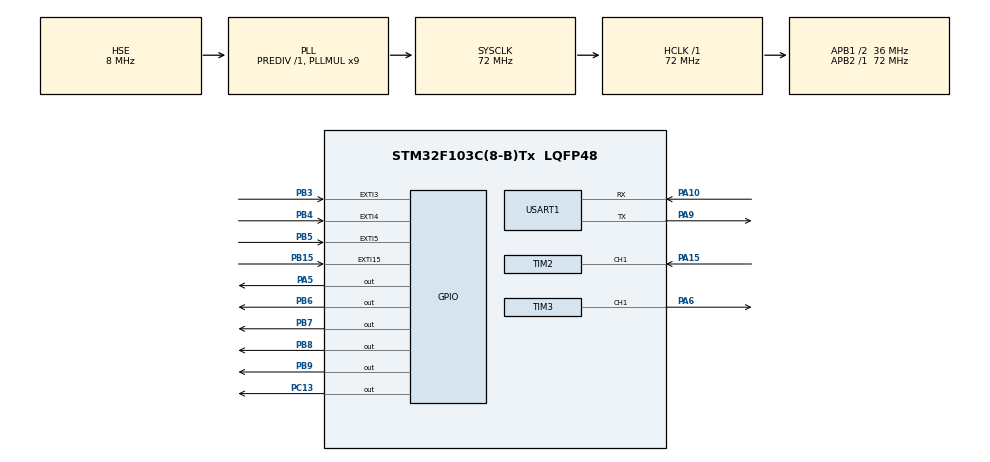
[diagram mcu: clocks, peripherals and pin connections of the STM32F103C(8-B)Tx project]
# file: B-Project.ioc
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Mcu.Family=STM32F1
Mcu.Name=STM32F103C(8-B)Tx
Mcu.Package=LQFP48
NVIC.EXTI15_10_IRQn=true\:2\:0\:true\:false\:true\:true\:true\:true
NVIC.EXTI3_IRQn=true\:2\:0\:true\:false\:true\:true\:true\:true
NVIC.EXTI4_IRQn=true\:2\:0\:true\:false\:true\:true\:true\:true
NVIC.EXTI9_5_IRQn=true\:2\:0\:true\:false\:true\:true\:true\:true
NVIC.PriorityGroup=NVIC_PRIORITYGROUP_4
NVIC.TIM1_UP_IRQn=true\:1\:0\:true\:false\:true\:true\:true\:true
NVIC.TIM2_IRQn=true\:1\:0\:true\:false\:true\:true\:true\:true
NVIC.TIM4_IRQn=true\:1\:0\:true\:false\:true\:true\:true\:true
PA0-WKUP.Mode=SYS_WakeUp0
PA0-WKUP.Signal=SYS_WKUP
PA10.Mode=Asynchronous
PA10.Signal=USART1_RX
PA13.Mode=Serial_Wire
PA13.Signal=SYS_JTMS-SWDIO
PA14.Mode=Serial_Wire
PA14.Signal=SYS_JTCK-SWCLK
PA15.GPIO_PuPd=GPIO_PULLUP
PA15.Signal=S_TIM2_CH1_ETR
PA5.Signal=GPIO_Output
PA6.GPIO_Speed=GPIO_SPEED_FREQ_HIGH
PA6.Signal=S_TIM3_CH1
PA9.Mode=Asynchronous
PA9.Signal=USART1_TX
PB15.GPIO_ModeDefaultEXTI=GPIO_MODE_IT_FALLING
PB15.GPIO_PuPd=GPIO_PULLUP
PB15.Signal=GPXTI15
PB3.GPIO_ModeDefaultEXTI=GPIO_MODE_IT_FALLING
PB3.GPIO_PuPd=GPIO_PULLUP
PB3.Signal=GPXTI3
PB4.GPIO_ModeDefaultEXTI=GPIO_MODE_IT_FALLING
PB4.GPIO_PuPd=GPIO_PULLUP
PB4.Signal=GPXTI4
PB5.GPIO_ModeDefaultEXTI=GPIO_MODE_IT_FALLING
PB5.GPIO_PuPd=GPIO_PULLUP
PB5.Signal=GPXTI5
PB6.Signal=GPIO_Output
PB7.Signal=GPIO_Output
PB8.Signal=GPIO_Output
PB9.Signal=GPIO_Output
PC13-TAMPER-RTC.Signal=GPIO_Output
PD0-OSC_IN.Mode=HSE-External-Oscillator
PD0-OSC_IN.Signal=RCC_OSC_IN
PD1-OSC_OUT.Mode=HSE-External-Oscillator
PD1-OSC_OUT.Signal=RCC_OSC_OUT
ProjectManager.HeapSize=0x200
ProjectManager.StackSize=0x400
ProjectManager.TargetToolchain=STM32CubeIDE
RCC.AHBFreq_Value=72000000
RCC.APB1CLKDivider=RCC_HCLK_DIV2
RCC.APB1Freq_Value=36000000
RCC.APB1TimFreq_Value=72000000
RCC.APB2Freq_Value=72000000
RCC.APB2TimFreq_Value=72000000
RCC.EnbaleCSS=true
RCC.HCLKFreq_Value=72000000
RCC.PLLMUL=RCC_PLL_MUL9
RCC.PLLSourceVirtual=RCC_PLLSOURCE_HSE
RCC.SYSCLKFreq_VALUE=72000000
RCC.SYSCLKSource=RCC_SYSCLKSOURCE_PLLCLK
RCC.USBFreq_Value=72000000
SH.S_TIM2_CH1_ETR.0=TIM2_CH1,Input_Capture1_from_TI1
SH.S_TIM3_CH1.0=TIM3_CH1,PWM Generation1 CH1
TIM1.AutoReloadPreload=TIM_AUTORELOAD_PRELOAD_ENABLE
TIM1.Period=49999
TIM1.Prescaler=7199
TIM2.Channel-Input_Capture1_from_TI1=TIM_CHANNEL_1
TIM2.ICFilter_CH1=4
TIM2.ICPolarity_CH1=TIM_INPUTCHANNELPOLARITY_FALLING
TIM2.Prescaler=71
TIM3.AutoReloadPreload=TIM_AUTORELOAD_PRELOAD_ENABLE
TIM3.Channel-PWM\ Generation1\ CH1=TIM_CHANNEL_1
TIM3.Period=1894
TIM3.Prescaler=0
TIM3.Pulse-PWM\ Generation1\ CH1=631
TIM4.AutoReloadPreload=TIM_AUTORELOAD_PRELOAD_ENABLE
TIM4.Period=2499
TIM4.Prescaler=7199
USART1.VirtualMode=VM_ASYNC
VP_TIM1_VS_ClockSourceINT.Mode=Internal
VP_TIM2_VS_ClockSourceINT.Mode=Internal
VP_TIM4_VS_ClockSourceINT.Mode=Internal
board=custom

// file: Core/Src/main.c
/* USER CODE BEGIN Header */
/* USER CODE END Header */
#include "main.h"

/* USER CODE BEGIN Includes */
#include <string.h>
#include <stdio.h>

#include "stm32f1xx_hal.h"
#include "stm32f1xx_hal_rcc.h"

#include <stdlib.h>  // for atoi

/* Reserve Flash space for channel storage (10 channels * 2KB each) */
__attribute__((section(".user_data"))) const uint8_t flash_channels[10 * 2048];
/* Reserve one Flash page (1KB) for occupied channel map */
__attribute__((section(".occupied"))) const uint8_t occupied_page[1024];

/* USER CODE END Includes */

/* USER CODE BEGIN PD */

/* IR signal processing thresholds */
#define BURST_GAP_US    70        /* Max duration to consider as part of a burst (carrier) */
#define MAX_SEGMENTS    256       /* Max number of burst/idle segments per signal */
#define MAX_DIFFS       3000      /* Reduced from 4096 to save RAM (8KB) */
#define TIMER_FREQ_HZ   1000000   /* TIM2 runs at 1 MHz → 1 µs per tick */
#define END_GAP_US      500000    /* 500 ms silence to force end of capture (fallback) */

/* Signal validation thresholds */
#define MIN_CARRIER_COUNT 5          /* Minimum pulses to calculate carrier frequency */
#define MIN_TOTAL_DURATION_US 50000  /* Minimum total signal duration (50 ms) */
#define MAX_TOTAL_DURATION_US 200000 /* Maximum total signal duration (200 ms) */
#define MIN_BURST_DURATION_US 100    /* Minimum burst length to reject noise */
#define MIN_IDLE_DURATION_US  50     /* Minimum idle length to reject short gaps */
#define CARRIER_FREQ_MIN_HZ   30000  /* Min carrier frequency (30 kHz) */
#define CARRIER_FREQ_MAX_HZ   50000  /* Max carrier frequency (50 kHz) */
#define MIN_DIFFS_FOR_PROCESS 10     /* Ignore signals with fewer diffs (noise) */

/* Flash memory layout */
#define FLASH_END_ADDRESS           0x08010000  /* End of 64KB Flash (base + 64KB) */
#define MY_FLASH_PAGE_SIZE          1024U       /* Page size (renamed to avoid conflict(redefining FLASH_PAGE_SIZE error)) */
#define FLASH_OCCUPIED_START ((uint32_t)occupied_page)
#define FLASH_CHANNELS_START ((uint32_t)flash_channels)
#define CHANNEL_SIZE_IN_FLASH       (MY_FLASH_PAGE_SIZE * PAGES_PER_CHANNEL) // حالا با MY_ استفاده می‌شه

/* IR channel configuration */
#define MAX_CHANNELS    10
#define PAGES_PER_CHANNEL    2   /* 2 pages = 2KB per channel */

#define IDLE_THRESHOLD 6  /* 6 * 5s = 30s idle timeout */

/* USER CODE END PD */

TIM_HandleTypeDef htim1;
TIM_HandleTypeDef htim2;
TIM_HandleTypeDef htim3;
TIM_HandleTypeDef htim4;

UART_HandleTypeDef huart1;

/* USER CODE BEGIN PV */

/* EXTI flag for keypad interrupt */
volatile uint8_t exti_flag = 0;

/* Raw diff buffer (timing between edges) */
volatile uint32_t diffBuffer[MAX_DIFFS];
volatile uint32_t diffIndex = 0;

/* Capture state flags */
volatile uint8_t captureActive = 1;       /* Set to 0 to stop capture */
volatile uint8_t signalDetected = 0;      /* First valid edge detected */

/* Structure to hold processed IR signal data */
typedef struct {
    uint32_t carrierFreq;
    uint16_t segmentCount;
    uint8_t  type[MAX_SEGMENTS];      /* 0 = Idle, 1 = Burst */
    uint32_t duration[MAX_SEGMENTS];  /* microseconds */
} IR_RawData;

/* Current captured signal (volatile because used in ISR) */
volatile IR_RawData irData;

volatile uint32_t lastCapture = 0;
volatile uint8_t signalReady = 0;     /* Set when capture finished or overflow */
volatile uint8_t overflowError = 0;   /* Diff buffer overflow flag */

//phase 3
/* Temporary buffer for Flash read/write (one channel) */
IR_RawData tempChannelData;

/* State machine states */
typedef enum {
    IR_IDLE,         /* Waiting for signal or user input */
    IR_RECEIVING,    /* Capture in progress */
    IR_READY,        /* Signal ready, waiting for save/cancel */
    IR_TRANSMITTING, /* Replaying stored signal */
	IR_SELECTING     /* User selected channel, waiting for C (send) or D (delete) */
} IR_State;

volatile IR_State currentState = IR_IDLE;

/* Channel occupancy map (0 = free, 1 = occupied) */
uint8_t channelOccupied[MAX_CHANNELS] = {0};

/* Keyboard input buffer (max 2 digits + null terminator) */
uint8_t selectedChannel = 0;
uint8_t keyboardBuffer[3] = {0};
uint8_t keyboardIndex = 0;

/* User timeout duration (not used dynamically yet, kept for future) */
//uint32_t timeoutDuration = 0;

/* Button flags for polling in main loop (not used in current implementation) */
//uint8_t savePressed = 0, cancelPressed = 0, sendPressed = 0, deletePressed = 0;

/* Word-aligned buffer for Flash programming (BSS) */
static uint32_t saveBuf[(sizeof(IR_RawData) + 3) / 4];

//phase 4
/* Idle timeout handling for standby mode */
volatile uint32_t lastActivityTime = 0;
const uint32_t IDLE_TIMEOUT_MS = 30000;

/* USER CODE END PV */

void SystemClock_Config(void);
static void MX_GPIO_Init(void);
static void MX_TIM2_Init(void);
static void MX_USART1_UART_Init(void);
static void MX_TIM4_Init(void);
static void MX_TIM3_Init(void);
static void MX_TIM1_Init(void);
/* USER CODE BEGIN PFP */

//phase 3
/* Channel management */
static uint8_t FindNextFreeChannel(void);
static void SaveChannel(uint8_t ch);
static void DeleteChannel(uint8_t ch);

/* Flash operations */
HAL_StatusTypeDef SaveToFlash(uint8_t channelIndex, IR_RawData* data);
void LoadFromFlash(uint8_t channelIndex, IR_RawData* destination);
static void LoadOccupiedFromFlash(void);  /* Load channel occupancy from Flash at startup */
static HAL_StatusTypeDef SaveOccupiedToFlash(void);

/* User interface */
static uint8_t ScanKeyboard(void);  /* Scan 4x4 keypad, return ASCII key or 0 */
static void ProcessKeyboardInput(uint8_t key);
static void LED_Pattern(uint8_t type);  /* type: 1=save, 2=cancel, 3=send, 4=delete, 5=error */

/* Debug helpers */
static void DumpOccupiedFlashRaw(void);

/* User timeout management (TIM1) */
static inline void StartUserTimeout(void);
static inline void StopUserTimeout(void);

/* USER CODE END PFP */

/* USER CODE BEGIN 0 */

/**
 * @brief Initializes and starts IR capture mode.
 *        Resets buffers, flags, and starts TIM2 input capture interrupt.
 */
void IR_CaptureStart(void)
{
    memset((void*)diffBuffer, 0, sizeof(diffBuffer));
    diffIndex = 0;
    signalReady = 0;
    overflowError = 0;
    lastCapture = 0;
    captureActive = 1;
    signalDetected = 0;

    HAL_TIM_IC_Start_IT(&htim2, TIM_CHANNEL_1);
    currentState = IR_IDLE;
	printf("Entered receiving state.\r\n");

}

/**
 * @brief TIM2 input capture interrupt callback.
 *        Measures time between falling edges, stores diffs in buffer,
 *        and starts TIM4 timeout on first valid edge.
 */
void HAL_TIM_IC_CaptureCallback(TIM_HandleTypeDef *htim)
{
    if (htim->Instance != TIM2 || !captureActive) return;

    uint32_t now = HAL_TIM_ReadCapturedValue(htim, TIM_CHANNEL_1);
    uint32_t diff = (now >= lastCapture) ? (now - lastCapture) : (0xFFFF - lastCapture + now + 1);

    /* Skip first capture (no valid diff) */
    if (lastCapture == 0) {
            lastCapture = now;
            return;
    }

    if (diffIndex < MAX_DIFFS) {
        diffBuffer[diffIndex++] = diff;
    } else {
    	/* Buffer overflow: stop capture and signal ready for processing */
        overflowError = 1;
        captureActive = 0;
        HAL_TIM_IC_Stop_IT(&htim2, TIM_CHANNEL_1);
        HAL_TIM_Base_Stop_IT(&htim4);
        signalReady = 1;
    }

    lastCapture = now;

    /* Start TIM4 timeout only on the first valid edge */
    if (!signalDetected) {
        signalDetected = 1;
        __HAL_TIM_SET_COUNTER(&htim4, 0);
        HAL_TIM_Base_Start_IT(&htim4);
        currentState = IR_RECEIVING;

    }
}

/**
 * @brief TIM period elapsed callback (used by TIM4 and TIM1).
 *        TIM4: end-of-frame detection, stops capture.
 *        TIM1: user decision timeout (5s), discards signal or selection.
 */
__attribute__((used)) void HAL_TIM_PeriodElapsedCallback(TIM_HandleTypeDef *htim) {
    if (htim->Instance == TIM4) {
    	/* End of capture timeout (no signal edge for 250ms) */
        if (captureActive) {
            captureActive = 0;
            HAL_TIM_IC_Stop_IT(&htim2, TIM_CHANNEL_1);
            HAL_TIM_Base_Stop_IT(&htim4);
            signalReady = 1;  /* Signal ready for processing */
        }
        return;
    }

    if (htim->Instance == TIM1) {

    	/* 5-second user timeout window (ready or channel selection) */
    	StopUserTimeout();

        if (currentState == IR_READY) {
        	lastActivityTime = HAL_GetTick();
        	printf("Timeout in ready state: Signal discarded.\r\n");
            //LED_Pattern(2);
            HAL_GPIO_WritePin(GPIOC, GPIO_PIN_13, GPIO_PIN_SET); /* Turn LED off */
            currentState = IR_IDLE;
            selectedChannel = 0;
            keyboardIndex = 0;
            memset(keyboardBuffer, 0, sizeof(keyboardBuffer));
            //printf("Timeout in ready state: Signal discarded.\r\n");
            IR_CaptureStart(); /* Restart capture */
        }
        else if (currentState == IR_SELECTING && selectedChannel > 0) {
        	lastActivityTime = HAL_GetTick();
            printf("Timeout in channel selection: Channel %d discarded.\r\n", selectedChannel);
            selectedChannel = 0;
            HAL_GPIO_WritePin(GPIOC, GPIO_PIN_13, GPIO_PIN_SET); /* Turn LED off */
            currentState = IR_IDLE;
            IR_CaptureStart();
        }

        return;
    }
}

/**
 * @brief Retarget printf to UART1.
 * @param file unused
 * @param ptr data buffer
 * @param len length
 * @return number of bytes written
 */
int _write(int file, char *ptr, int len)
{
    HAL_UART_Transmit(&huart1, (uint8_t*)ptr, len, HAL_MAX_DELAY);
    return len;
}

/**
 * @brief Show visual feedback on LED (PC13, active low).
 * @param type 1=Save, 2=Cancel, 3=Send, 4=Delete, 5=Error
 */
void LED_Pattern(uint8_t type) {
    switch (type) {
        case 1:  /* Save: 3 quick blinks */
            for (int i = 0; i < 3; i++) {
                HAL_GPIO_WritePin(GPIOC, GPIO_PIN_13, GPIO_PIN_RESET);
                HAL_Delay(150);
                HAL_GPIO_WritePin(GPIOC, GPIO_PIN_13, GPIO_PIN_SET);
                HAL_Delay(150);
            }
            break;
        case 2:  /* Save: 3 quick blinks */
            HAL_GPIO_WritePin(GPIOC, GPIO_PIN_13, GPIO_PIN_RESET);
            HAL_Delay(500);
            HAL_GPIO_WritePin(GPIOC, GPIO_PIN_13, GPIO_PIN_SET);
            HAL_Delay(200);
            break;
        case 3:  /* Send: 2 medium blinks */
            for (int i = 0; i < 2; i++) {
                HAL_GPIO_WritePin(GPIOC, GPIO_PIN_13, GPIO_PIN_RESET);
                HAL_Delay(300);
                HAL_GPIO_WritePin(GPIOC, GPIO_PIN_13, GPIO_PIN_SET);
                HAL_Delay(300);
            }
            break;
        case 4:  /* Delete: 4 fast blinks */
            for (int i = 0; i < 4; i++) {
                HAL_GPIO_WritePin(GPIOC, GPIO_PIN_13, GPIO_PIN_RESET);
                HAL_Delay(100);
                HAL_GPIO_WritePin(GPIOC, GPIO_PIN_13, GPIO_PIN_SET);
                HAL_Delay(100);
            }
            break;
        case 5:  /* Error: 5 very fast blinks */
			for (int i = 0; i < 5; i++) {
				HAL_GPIO_WritePin(GPIOC, GPIO_PIN_13, GPIO_PIN_RESET);
				HAL_Delay(50);
				HAL_GPIO_WritePin(GPIOC, GPIO_PIN_13, GPIO_PIN_SET);
				HAL_Delay(50);
			}
			break;
        default:
            break;
    }
}

/**
 * @brief Dynamically set TIM3 PWM frequency for IR carrier.
 * @param carrierHz Desired carrier frequency (30-56 kHz). Out-of-range defaults to 38 kHz.
 */
void TIM3_SetCarrierFreq(uint32_t carrierHz)
{
    if (carrierHz < 30000 || carrierHz > 50000) {
        carrierHz = 38000; /* Default to 38 kHz */
    }

    /* Calculate timer clock (APB1) */
    uint32_t pclk1 = HAL_RCC_GetPCLK1Freq();
    uint32_t hclk = HAL_RCC_GetHCLKFreq();  // HCLK usually = SYSCLK
    uint32_t tim_clk = (pclk1 == hclk) ? pclk1 : 2 * pclk1;  /* If APB1 prescaler >1, timer clock = 2*PCLK1 */

    /* Adjust prescaler to avoid 16-bit overflow */
    uint32_t prescaler = 0;
    uint32_t period = tim_clk / carrierHz;
    while (period > 65535) {
        prescaler++;
        period = (tim_clk / (prescaler + 1)) / carrierHz;
    }
    if (period == 0) period = 1;  // prevents division by zero
    period -= 1; /* Final ARR value */

    /* Apply settings without reinitializing the timer */
    __HAL_TIM_SET_PRESCALER(&htim3, prescaler);
    __HAL_TIM_SET_AUTORELOAD(&htim3, period);

    /* Duty cycle ≈ 33% (can be changed to 50% by using period/2) */
    __HAL_TIM_SET_COMPARE(&htim3, TIM_CHANNEL_1, period / 2);
}

/**
 * @brief Enable PWM output on TIM3 channel 1.
 */
static inline void PWM_On(void) {
    HAL_TIM_PWM_Start(&htim3, TIM_CHANNEL_1);
}

/**
 * @brief Disable PWM output on TIM3 channel 1.
 */
static inline void PWM_Off(void) {
    HAL_TIM_PWM_Stop(&htim3, TIM_CHANNEL_1);
}

/**
 * @brief Microsecond delay using DWT cycle counter.
 * @param us Delay in microseconds
 */
static void delay_us(uint32_t us)
{
    uint32_t start = DWT->CYCCNT;
    uint32_t cycles = (HAL_RCC_GetHCLKFreq() / 1000000) * us;
    while ((DWT->CYCCNT - start) < cycles);
}

/**
 * @brief Replay a stored IR signal.
 * @param data Pointer to IR_RawData structure (carrier freq, segments, durations)
 */
void IR_Transmit(volatile IR_RawData *data)
{
    if (data->segmentCount == 0) {
        printf("Error: No segments to transmit.\r\n");
        return;
    }
    currentState = IR_TRANSMITTING;
	printf("Transmitting channel %d...\r\n", selectedChannel);
	LED_Pattern(3);   /* Send pattern */

    TIM3_SetCarrierFreq(data->carrierFreq); /* Dynamic frequency setting based on captured carrier */

    for (uint16_t i = 0; i < data->segmentCount; i++) {
        if (data->type[i] == 1) {
            PWM_On();
        } else {
            PWM_Off();
        }
        delay_us(data->duration[i]);
    }
    PWM_Off(); /* Final off */
	printf("Transmit complete.\r\n");
	currentState = IR_IDLE;
	selectedChannel = 0;
	IR_CaptureStart();  /* Back to idle, ready for next capture */
}

/**
 * @brief Process raw diff buffer and extract IR signal segments.
 * @return 1 if valid signal, 0 if discarded (noise or invalid)
 */
uint8_t ProcessDiffBuffer(void) {
	/* Too few diffs – likely noise */
	if (diffIndex < MIN_DIFFS_FOR_PROCESS) return 0;

	/* Step 1: Calculate total signal duration */
    uint32_t totalDuration = 0;
    for (uint32_t i = 0; i < diffIndex; i++) {
        totalDuration += diffBuffer[i];
    }

    /* Basic sanity checks */
    if (totalDuration < MIN_TOTAL_DURATION_US || totalDuration > MAX_TOTAL_DURATION_US || diffIndex < 10) {
        printf("Discard: Invalid total duration (%lu us) or too few diffs (%lu)\r\n", totalDuration, diffIndex);
        return 0;
    }

    /* Step 2: Calculate carrier frequency from short diffs (burst pulses) */
    uint32_t carrierSum = 0;
    uint32_t carrierCount = 0;
    for (uint32_t i = 0; i < diffIndex; i++) {
        if (diffBuffer[i] > 5 && diffBuffer[i] <= BURST_GAP_US) {  // carrier diffs (5-200us)
            carrierSum += diffBuffer[i];
            carrierCount++;
        }
    }
    uint32_t carrierFreq = 0;
    if (carrierCount >= MIN_CARRIER_COUNT) {
        uint32_t avgPeriod = carrierSum / carrierCount;
        carrierFreq = TIMER_FREQ_HZ / avgPeriod;
    } else {
        printf("Discard: Not enough carrier pulses (%lu < %d)\r\n", carrierCount, MIN_CARRIER_COUNT);
        return 0;
    }

    /* Step 3: Extract burst/idle segments from diff array */
    memset((void*)&irData, 0, sizeof(irData));
    uint8_t currentType = 1;  /* Assume starting with burst */
    uint32_t accumulatedDuration = diffBuffer[0];
    irData.segmentCount = 0;

    for (uint32_t i = 1; i < diffIndex; i++) {
        uint32_t diff = diffBuffer[i];
        if (diff <= BURST_GAP_US) {
            if (currentType == 1) {
                accumulatedDuration += diff;  /* Continue current burst */
            } else {
            	/* End of idle, start new burst */
                if (irData.segmentCount < MAX_SEGMENTS) {
                    irData.type[irData.segmentCount] = 0;  /* Idle segment */
                    irData.duration[irData.segmentCount++] = accumulatedDuration;
                }
                currentType = 1;
                accumulatedDuration = diff;
            }
        } else {
        	/* This diff is part of an idle gap */
            if (currentType == 0) {
                accumulatedDuration += diff;  /* Continue current idle */
            } else {
            	/* End of burst, start new idle */
                if (irData.segmentCount < MAX_SEGMENTS) {
                    irData.type[irData.segmentCount] = 1;  /* Burst segment */
                    irData.duration[irData.segmentCount++] = accumulatedDuration;
                }
                currentType = 0;
                accumulatedDuration = diff;
            }
        }
    }
    /* Add the final segment */
    if (accumulatedDuration > 0 && irData.segmentCount < MAX_SEGMENTS) {
        irData.type[irData.segmentCount] = currentType;
        irData.duration[irData.segmentCount++] = accumulatedDuration;
    }

    /* Check for segment overflow */
    if (irData.segmentCount >= MAX_SEGMENTS) {
        printf("Discard: Segment overflow (%d >= %d)\r\n", irData.segmentCount, MAX_SEGMENTS);
        return 0;
    }

    /* Step 4: Final validation checks */
    if (overflowError) {
        printf("Discard: Diff buffer overflow\r\n");
        return 0;
    }
    if (carrierFreq < CARRIER_FREQ_MIN_HZ || carrierFreq > CARRIER_FREQ_MAX_HZ) {
        printf("Discard: Invalid carrier freq (%lu Hz)\r\n", carrierFreq);
        return 0;
    }
    for (uint16_t i = 0; i < irData.segmentCount; i++) {
        if (irData.type[i] == 1 && irData.duration[i] < MIN_BURST_DURATION_US) {
            printf("Discard: Short burst (%lu us < %d)\r\n", irData.duration[i], MIN_BURST_DURATION_US);
            return 0;
        }
        if (irData.type[i] == 0 && irData.duration[i] < MIN_IDLE_DURATION_US) {
            printf("Discard: Short idle (%lu us < %d)\r\n", irData.duration[i], MIN_IDLE_DURATION_US);
            return 0;
        }
    }

    /* All checks passed */
    irData.carrierFreq = carrierFreq;
    return 1;
}

/**
 * @brief Save channel occupancy map to Flash (page at FLASH_OCCUPIED_START).
 * @return HAL_OK on success, otherwise error code.
 */
static HAL_StatusTypeDef SaveOccupiedToFlash(void) {
    HAL_StatusTypeDef status = HAL_OK;
    FLASH_EraseInitTypeDef EraseInitStruct;
    uint32_t PageError = 0;

    const uint16_t words = (sizeof(channelOccupied) + 3) / 4;
    uint32_t occBuf[(sizeof(channelOccupied) + 3) / 4];

    /* Prepare buffer: pad with 0xFF then copy actual bytes */
    for (uint16_t i = 0; i < words; ++i) occBuf[i] = 0xFFFFFFFFu;
    memcpy(occBuf, channelOccupied, sizeof(channelOccupied));

    /* Disable capture IRQs during Flash write (safer than full __disable_irq) */
    HAL_NVIC_DisableIRQ(TIM2_IRQn);
    HAL_NVIC_DisableIRQ(TIM4_IRQn);

    HAL_FLASH_Unlock();

    EraseInitStruct.TypeErase = FLASH_TYPEERASE_PAGES;
    EraseInitStruct.PageAddress = FLASH_OCCUPIED_START;
    EraseInitStruct.NbPages = 1;

    status = HAL_FLASHEx_Erase(&EraseInitStruct, &PageError);
    if (status != HAL_OK) {
        uint32_t ferr = HAL_FLASH_GetError();
        printf("SaveOccupiedToFlash: Erase failed. status=%ld, FLASH error=0x%08lX, PageError=0x%08lX\r\n",
               (long)status, (unsigned long)ferr, (unsigned long)PageError);
        HAL_FLASH_Lock();
        HAL_NVIC_EnableIRQ(TIM4_IRQn);
        HAL_NVIC_EnableIRQ(TIM2_IRQn);
        return status;
    }

    uint32_t addr = FLASH_OCCUPIED_START;
    for (uint16_t i = 0; i < words; i++) {
        status = HAL_FLASH_Program(FLASH_TYPEPROGRAM_WORD, addr, occBuf[i]);
        if (status != HAL_OK) {
            uint32_t ferr = HAL_FLASH_GetError();
            printf("SaveOccupiedToFlash: Program failed at 0x%08lX. FLASH error=0x%08lX\r\n", (unsigned long)addr, (unsigned long)ferr);
            HAL_FLASH_Lock();
            HAL_NVIC_EnableIRQ(TIM4_IRQn);
            HAL_NVIC_EnableIRQ(TIM2_IRQn);
            return status;
        }
        addr += 4;
    }

    HAL_FLASH_Lock();

    HAL_NVIC_EnableIRQ(TIM4_IRQn);
    HAL_NVIC_EnableIRQ(TIM2_IRQn);

    return HAL_OK;
}

/**
 * @brief Load channel occupancy map from Flash into RAM.
 *        Handles empty (0xFF) or corrupted pages by resetting map to all free.
 */
static void LoadOccupiedFromFlash(void) {
    uint8_t temp[sizeof(channelOccupied)];
    memcpy(temp, (void*)FLASH_OCCUPIED_START, sizeof(temp));

    /* Debug: print raw bytes */
    printf("Raw occupied flash bytes: ");
    for (int i = 0; i < (int)sizeof(temp); i++) {
        printf("%02X ", temp[i]);
    }
    printf("\r\n");

    /* Check if page is completely erased (0xFF) – new / empty */
    uint8_t all_ff = 1;
    for (int i = 0; i < (int)sizeof(temp); i++) {
        if (temp[i] != 0xFF) { all_ff = 0; break; }
    }
    if (all_ff) {
        memset(channelOccupied, 0, sizeof(channelOccupied));
        printf("Occupied status empty (0xFF). Defaults set (all free).\r\n");
        return;
    }

    /* Validate each byte: only 0x00, 0x01 or 0xFF are allowed */
    uint8_t valid = 1;
    for (int i = 0; i < (int)sizeof(temp); i++) {
        if (!(temp[i] == 0x00 || temp[i] == 0x01 || temp[i] == 0xFF)) { valid = 0; break; }
    }

    if (valid) {
        for (int i = 0; i < MAX_CHANNELS; i++) {
            channelOccupied[i] = (temp[i] == 0x01) ? 1 : 0;
        }
        printf("Occupied status loaded from flash (validated).\r\n");
        /* Attempt to erase the page manually (SaveOccupiedToFlash would write current RAM, which is not intended here) */
    } else {
        printf("Occupied page invalid/corrupt. Erasing occupied page and resetting RAM map.\r\n");
        if (SaveOccupiedToFlash() == HAL_OK) {

        	/* SaveOccupiedToFlash erases and writes current channelOccupied (already zeroed later), but we just want erase.
        	So we do a manual erase instead: */
            FLASH_EraseInitTypeDef EraseInitStruct;
            uint32_t PageError = 0;
            HAL_FLASH_Unlock();
            EraseInitStruct.TypeErase = FLASH_TYPEERASE_PAGES;
            EraseInitStruct.PageAddress = FLASH_OCCUPIED_START;
            EraseInitStruct.NbPages = 1;
            HAL_FLASHEx_Erase(&EraseInitStruct, &PageError);
            HAL_FLASH_Lock();
        } else {
        	/* Erase failed, but still reset RAM */
        }
        memset(channelOccupied, 0, sizeof(channelOccupied));
        printf("Occupied status reset in RAM.\r\n");
    }

    printf("Occupied map: ");
    for (int i = 0; i < MAX_CHANNELS; i++) {
        printf("%d", channelOccupied[i] ? 1 : 0);
        if (i < MAX_CHANNELS-1) printf(",");
    }
    printf("\r\n");
}

/**
 * @brief Wrapper to safely save a captured signal to Flash.
 *        Disables capture IRQs, writes to Flash, updates occupancy map.
 * @param ch Channel number (1‑based)
 */
static void SaveChannel(uint8_t ch) {
    if (ch < 1 || ch > MAX_CHANNELS) return;
    ch--; /* Convert to 0-based index */

    /* Validate captured data */
    if (irData.segmentCount == 0 || irData.segmentCount > MAX_SEGMENTS) {
        printf("Error: invalid capture; not saved.\r\n");
        LED_Pattern(5);
        return;
    }

    /* Stop capture interrupts to avoid interference during Flash write */
    HAL_TIM_IC_Stop_IT(&htim2, TIM_CHANNEL_1);
    HAL_TIM_Base_Stop_IT(&htim4);
    // optionally stop main polling briefly
    __disable_irq();   /* Also disable all interrupts for safety */

    HAL_StatusTypeDef st = SaveToFlash(ch, (IR_RawData*)&irData);

    __enable_irq();
    // Restore capture (IR_CaptureStart will also set state)
    if (st == HAL_OK) {
        channelOccupied[ch] = 1;
        if (SaveOccupiedToFlash() != HAL_OK) {
            printf("Warning: failed to persist occupied map.\r\n");
        }
        printf("Channel %d saved.\r\n", ch + 1);
        LED_Pattern(1);
    } else {
        printf("Error saving channel %d. Flash error: %lu\r\n", ch + 1, HAL_FLASH_GetError());
        LED_Pattern(5);
    }

    IR_CaptureStart();  /* Restart capture */
}

/**
 * @brief Low-level Flash write for one channel.
 *        Erases the channel's Flash pages, then programs word by word.
 * @param channelIndex 0-based channel index
 * @param data Pointer to IR_RawData to store
 * @return HAL_OK on success, otherwise error code.
 */
HAL_StatusTypeDef SaveToFlash(uint8_t channelIndex, IR_RawData* data)
{
    if (channelIndex >= MAX_CHANNELS) return HAL_ERROR;

    uint32_t dataSize = sizeof(IR_RawData);
    if (dataSize > CHANNEL_SIZE_IN_FLASH) {
        printf("Error: Data size (%lu) exceeds channel size (%d)\r\n", dataSize, CHANNEL_SIZE_IN_FLASH);
        return HAL_ERROR;
    }

    HAL_StatusTypeDef status = HAL_OK;
    FLASH_EraseInitTypeDef EraseInitStruct;
    uint32_t PageError = 0;

    uint32_t targetAddress = FLASH_CHANNELS_START + (channelIndex * CHANNEL_SIZE_IN_FLASH);

    /* Check for Flash overflow */
    if (targetAddress + CHANNEL_SIZE_IN_FLASH > FLASH_END_ADDRESS) {
        printf("Error: Flash overflow for channel %d (address 0x%08lX)\r\n", channelIndex + 1, (unsigned long)targetAddress);
        return HAL_ERROR;
    }

    /* Copy data to word‑aligned buffer and pad with 0xFF */
    uint16_t numWords = (dataSize + 3) / 4;
    for (uint16_t i = 0; i < numWords; ++i) saveBuf[i] = 0xFFFFFFFFu;
    memcpy(saveBuf, data, dataSize);

    /* Disable only capture‑related IRQs during Flash operation */
    HAL_NVIC_DisableIRQ(TIM2_IRQn);
    HAL_NVIC_DisableIRQ(TIM4_IRQn);

    HAL_FLASH_Unlock();

    /* Erase the allocated pages for this channel */
    EraseInitStruct.TypeErase = FLASH_TYPEERASE_PAGES;
    EraseInitStruct.PageAddress = targetAddress;
    EraseInitStruct.NbPages = PAGES_PER_CHANNEL;

    status = HAL_FLASHEx_Erase(&EraseInitStruct, &PageError);
    if (status != HAL_OK) {
        uint32_t ferr = HAL_FLASH_GetError();
        printf("Flash erase failed (ch %d). status=%ld, FLASH error=0x%08lX, PageError=0x%08lX\r\n",
               channelIndex + 1, (long)status, (unsigned long)ferr, (unsigned long)PageError);
        HAL_FLASH_Lock();
        HAL_NVIC_EnableIRQ(TIM4_IRQn);
        HAL_NVIC_EnableIRQ(TIM2_IRQn);
        return status;
    }

    /* Program word by word */
    uint32_t addr = targetAddress;
    for (uint16_t i = 0; i < numWords; i++) {
        status = HAL_FLASH_Program(FLASH_TYPEPROGRAM_WORD, addr, saveBuf[i]);
        if (status != HAL_OK) {
            uint32_t ferr = HAL_FLASH_GetError();
            printf("Flash program failed at 0x%08lX (ch %d). status=%ld, FLASH error=0x%08lX\r\n",
                   (unsigned long)addr, channelIndex + 1, (long)status, (unsigned long)ferr);
            HAL_FLASH_Lock();
            HAL_NVIC_EnableIRQ(TIM4_IRQn);
            HAL_NVIC_EnableIRQ(TIM2_IRQn);
            return status;
        }
        addr += 4;
    }

    HAL_FLASH_Lock();

    /* Re‑enable capture IRQs */
    HAL_NVIC_EnableIRQ(TIM4_IRQn);
    HAL_NVIC_EnableIRQ(TIM2_IRQn);

    return HAL_OK;
}

/**
 * @brief Delete a channel by writing an empty IR_RawData structure to Flash.
 * @param ch Channel number (1‑based)
 */
static void DeleteChannel(uint8_t ch) {
    if (ch < 1 || ch > MAX_CHANNELS) {
        printf("Error: Invalid channel %d.\r\n", ch);
        return;
    }
    ch--;  /* Convert to 0‑based */
    memset(&tempChannelData, 0, sizeof(IR_RawData));
    if (SaveToFlash(ch, &tempChannelData) == HAL_OK) {
        channelOccupied[ch] = 0;
        SaveOccupiedToFlash();  /* Persist occupancy map */
        printf("Channel %d deleted.\r\n", ch + 1);
        LED_Pattern(4);   /* Delete pattern */
    } else {
        printf("Error deleting channel %d. Flash error: %lu\r\n", ch + 1, HAL_FLASH_GetError());
        LED_Pattern(5);  /* Error pattern */
    }
}

/**
 * @brief Load one channel's IR data from Flash into a RAM buffer.
 * @param channelIndex 0‑based channel index
 * @param destination Pointer to destination IR_RawData buffer
 */
void LoadFromFlash(uint8_t channelIndex, IR_RawData* destination)
{
    if (channelIndex >= MAX_CHANNELS) return;

    uint32_t sourceAddress = FLASH_CHANNELS_START + (channelIndex * CHANNEL_SIZE_IN_FLASH);

    if (sourceAddress + sizeof(IR_RawData) > FLASH_END_ADDRESS) {
        printf("Error: Flash overflow on load for channel %d\r\n", channelIndex + 1);
        memset(destination, 0, sizeof(IR_RawData));
        return;
    }

    memcpy(destination, (void*)sourceAddress, sizeof(IR_RawData));
}

/**
 * @brief Find the first free (unoccupied) channel.
 * @return Channel number (1‑based) or 0 if all channels are occupied.
 */
static uint8_t FindNextFreeChannel(void) {
    for (uint8_t i = 0; i < MAX_CHANNELS; i++) {
        if (!channelOccupied[i]) return i + 1;
    }
    return 0;
}

/**
 * @brief Scan the 4x4 matrix keypad and return the pressed key.
 * @return ASCII character of the pressed key, or 0 if none.
 */
static uint8_t ScanKeyboard(void) {
    const uint8_t keys[4][4] = {
        {'1', '2', '3', 'A'},
        {'4', '5', '6', 'B'},
        {'7', '8', '9', 'C'},
        {'*', '0', '#', 'D'}
    };

//    // *** CHANGE: Using an array for non-contiguous row pins ***
//    const uint16_t row_pins[4] = {GPIO_PIN_0, GPIO_PIN_1, GPIO_PIN_3, GPIO_PIN_8};
//    const uint16_t col_pins[4] = {GPIO_PIN_4, GPIO_PIN_5, GPIO_PIN_6, GPIO_PIN_7};

    /* Row pins (all on GPIOB) */
    const uint16_t row_pins[4] = {GPIO_PIN_9, GPIO_PIN_8, GPIO_PIN_7, GPIO_PIN_6};

    /* Column ports and pins (PB3‑PB5 on GPIOB, PA15 on GPIOA) */
    GPIO_TypeDef* col_ports[4] = {GPIOB, GPIOB, GPIOB, GPIOB};
    const uint16_t col_pins[4] = {GPIO_PIN_5, GPIO_PIN_4, GPIO_PIN_3, GPIO_PIN_15};

    for (uint8_t row = 0; row < 4; row++) {
    	 /* Drive current row low */
        HAL_GPIO_WritePin(GPIOB, row_pins[row], GPIO_PIN_RESET);
        //for (volatile int d = 0; d < 100; d++);

        for (uint8_t col = 0; col < 4; col++) {
        	 /* Read column */
            if (HAL_GPIO_ReadPin(col_ports[col], col_pins[col]) == GPIO_PIN_RESET) {
            	/* Key pressed – debounce with 50 ms delay */
				//for (volatile int d = 0; d < 100; d++);  // ≈ ۱-۲µs بسته به clock
            	//for (volatile int d = 0; d < 100; d++);
            	HAL_Delay(50);

            	/* Confirm still pressed */
                if (HAL_GPIO_ReadPin(col_ports[col], col_pins[col]) == GPIO_PIN_RESET) {
                	/* Restore row to high before returning */
                    HAL_GPIO_WritePin(GPIOB, row_pins[row], GPIO_PIN_SET);
                    return keys[row][col];
                }
            }
        }
        /* Restore row to high before moving to next row */
        HAL_GPIO_WritePin(GPIOB, row_pins[row], GPIO_PIN_SET);
    }
    return 0;  /* No key pressed */
}

/**
 * @brief EXTI interrupt callback (triggered by keypad column pins).
 *        Simple debounce and flag setting – heavy processing is done in main loop.
 */
static uint32_t last_key_ms = 0;
void HAL_GPIO_EXTI_Callback(uint16_t GPIO_Pin)
{
	uint32_t now = HAL_GetTick();
	    if (now - last_key_ms < 40) {
	    	/* Debounce: ignore if less than 40 ms since last interrupt */
	        return;
	    }
	    last_key_ms = now;
	    /* Set flag for main loop to process */
        exti_flag = 1;
        /* Optional visual feedback (quick LED toggle) */
        HAL_GPIO_TogglePin(GPIOC, GPIO_PIN_13);

}

/**
 * @brief Process keypad input and manage state machine transitions.
 * @param key ASCII character of the pressed key
 */
static void ProcessKeyboardInput(uint8_t key) {

	/* Digit entry (max 2 digits) */
    if (key >= '0' && key <= '9' && keyboardIndex < 2) {
        keyboardBuffer[keyboardIndex++] = key;
        keyboardBuffer[keyboardIndex] = '\0';
        printf("Key pressed: %c\r\n", key);

    }
    /* '#' – confirm channel selection (only in IDLE) */
    else if (key == '#') {
    	printf(">> State changed to IR_SELECTING (%d)\r\n", currentState);
        if (currentState != IR_IDLE) return;
        selectedChannel = atoi((char*)keyboardBuffer);
        if (selectedChannel < 1 || selectedChannel > MAX_CHANNELS) {
            printf("Error: Invalid channel %d.\r\n", selectedChannel);
            selectedChannel = 0;
            LED_Pattern(5);  /* Error pattern */
        } else {
            printf("Channel %d selected. Press C (Send) or D (Delete) within 5s.\r\n", selectedChannel);
            HAL_GPIO_WritePin(GPIOC, GPIO_PIN_13, GPIO_PIN_RESET);  /* LED on */
            currentState = IR_SELECTING;
            printf(">> State changed to IR_SELECTING (%d)\r\n", currentState);
            StartUserTimeout();  /* Start 5s timeout */
        }
        keyboardIndex = 0;
        memset(keyboardBuffer, 0, sizeof(keyboardBuffer));
    }
    /* '*' – cancel current operation */
    else if (key == '*') {  // لغو
        keyboardIndex = 0;
        selectedChannel = 0;
        printf("Keyboard input canceled.\r\n");
        if (currentState == IR_READY) {
            LED_Pattern(2);  /* Cancel pattern */
            HAL_GPIO_WritePin(GPIOC, GPIO_PIN_13, GPIO_PIN_SET);  /* LED off */
            currentState = IR_IDLE;
            StopUserTimeout();
            IR_CaptureStart();
        }
    }
    /* A, B, C, D – action keys */
    else if (key == 'A' || key == 'B' || key == 'C' || key == 'D') {
    	printf("Key=%c, State=%d, selCh=%d\r\n", key, currentState, selectedChannel);

    	/* In READY state – save or cancel the captured signal */
    	if (currentState == IR_READY) {
            if (key == 'A') {  /* Save */
                uint8_t ch;
                if (keyboardIndex > 0) {
                    ch = atoi((char*)keyboardBuffer);
                    keyboardIndex = 0;
                    memset(keyboardBuffer, 0, sizeof(keyboardBuffer));
                    if (ch < 1 || ch > MAX_CHANNELS) {
                        printf("Error: Invalid channel %d for save.\r\n", ch);
                        LED_Pattern(5);  // Error pattern
                        return;
                    }
                } else {
                    ch = FindNextFreeChannel();  // از occupied برای پیدا کردن خالی
                }
                if (ch == 0) {  // همه پر، overwrite کانال 1
                    ch = 1;
                    printf("All %d channels full. Overwriting channel 1.\r\n", MAX_CHANNELS);
                } else {
                    printf("Saving to free channel %d.\r\n", ch);
                }

                if (channelOccupied[ch - 1] == 1) {
                    printf("Warning: Overwriting channel %d.\r\n", ch);
                }
                SaveChannel(ch);
                selectedChannel = 0;
                HAL_GPIO_WritePin(GPIOC, GPIO_PIN_13, GPIO_PIN_SET);  /* LED off */
                currentState = IR_IDLE;
                StopUserTimeout();
                IR_CaptureStart();
            } else if (key == 'B') {  /* Cancel */
                printf("Signal canceled.\r\n");
                LED_Pattern(2);  // Cancel pattern
                HAL_GPIO_WritePin(GPIOC, GPIO_PIN_13, GPIO_PIN_SET);  // LED off
                currentState = IR_IDLE;
                StopUserTimeout();
                keyboardIndex = 0;
                memset(keyboardBuffer, 0, sizeof(keyboardBuffer));
                IR_CaptureStart();
            }
        }
    	/* In SELECTING state – send or delete a previously selected channel */
    	else if (selectedChannel > 0 && currentState == IR_SELECTING) {
            printf("Key=%c, State=%d, selCh=%d\r\n", key, currentState, selectedChannel);

            if (key == 'C') {  /* Send */
                if (channelOccupied[selectedChannel - 1] == 0) {
                    printf("Error: Channel %d empty.\r\n", selectedChannel);
                    LED_Pattern(5);
                } else {

                    LoadFromFlash(selectedChannel - 1, &tempChannelData);
                    printf("\r\n--- Loaded Signal from Channel %d ---\r\n", selectedChannel);
                            printf("Carrier Frequency: %lu Hz\r\n", tempChannelData.carrierFreq);
                            printf("Segment Count: %d\r\n", tempChannelData.segmentCount);
                            for (int i = 0; i < tempChannelData.segmentCount; i++) {
                                const char* typeStr = (tempChannelData.type[i] == 1) ? "Burst" : "Idle ";
                                printf("Segment %02d: [%s] -> %lu us\r\n", i, typeStr, tempChannelData.duration[i]);
                            }
                            printf("--- End of Loaded Signal ---\r\n\r\n");
                    IR_Transmit(&tempChannelData);
                }
            } else if (key == 'D') {  /* Delete */
                if (channelOccupied[selectedChannel - 1] == 0) {
                    printf("Error: Channel %d already empty.\r\n", selectedChannel);
                    LED_Pattern(5);
                } else {
                    DeleteChannel(selectedChannel);
                }
            }

            /* After C or D, always return to IDLE */
            HAL_GPIO_WritePin(GPIOC, GPIO_PIN_13, GPIO_PIN_SET);
            StopUserTimeout();
            selectedChannel = 0;
            currentState = IR_IDLE;
            IR_CaptureStart();
        }

    }
}

/**
 * @brief Start the 5‑second user decision timeout (TIM1).
 *        Clears all flags and pending IRQs before starting.
 */
static inline void StartUserTimeout(void)
{
	/* Reset counter */
    __HAL_TIM_SET_COUNTER(&htim1, 0);

    /* Clear status register and all pending flags */
    htim1.Instance->SR = 0;
    __HAL_TIM_CLEAR_FLAG(&htim1, TIM_FLAG_UPDATE);
    __HAL_TIM_CLEAR_IT(&htim1, TIM_IT_UPDATE);

    /* Clear NVIC pending for this IRQ */
    HAL_NVIC_ClearPendingIRQ(TIM1_UP_IRQn);

    /* Start the timer (only if not already running) */
    if ((htim1.Instance->CR1 & TIM_CR1_CEN) == 0) {
        HAL_TIM_Base_Start_IT(&htim1);
    }

    /* Debug: print register status */
    printf("StartUserTimeout after start: CR1=0x%04lX, SR=0x%08lX, DIER=0x%08lX\n",
           (unsigned long)htim1.Instance->CR1,
           (unsigned long)htim1.Instance->SR,
           (unsigned long)htim1.Instance->DIER);
}

/**
 * @brief Stop the user decision timeout and clear all pending flags.
 */
static inline void StopUserTimeout(void)
{
    HAL_TIM_Base_Stop_IT(&htim1);
    /* Clear all flags and pending IRQs */
    htim1.Instance->SR = 0;
    __HAL_TIM_CLEAR_FLAG(&htim1, TIM_FLAG_UPDATE);
    __HAL_TIM_CLEAR_IT(&htim1, TIM_IT_UPDATE);
    HAL_NVIC_ClearPendingIRQ(TIM1_UP_IRQn);
}
static void DumpOccupiedFlashRaw(void) {
    uint8_t *p = (uint8_t*)FLASH_OCCUPIED_START;
    printf("Raw occupied flash bytes: ");
    for (int i = 0; i < (int)sizeof(channelOccupied); i++) {
        printf("%02X ", p[i]);
    }
    printf("\r\n");
}

/* USER CODE END 0 */

int main(void)
{

  /* MCU Configuration--------------------------------------------------------*/

  /* Reset of all peripherals, Initializes the Flash interface and the Systick. */
  HAL_Init();

  /* Configure the system clock */
  SystemClock_Config();

  /* Initialize all configured peripherals */
  MX_GPIO_Init();
  MX_TIM2_Init();
  MX_USART1_UART_Init();
  MX_TIM4_Init();
  MX_TIM3_Init();
  MX_TIM1_Init();
  /* USER CODE BEGIN 2 */

  /* Configure PA0 as input with pull-down for standby wake-up (WKUP) */
  GPIO_InitTypeDef GPIO_InitStruct = {0};
  GPIO_InitStruct.Pin = GPIO_PIN_0;  // PA0
  GPIO_InitStruct.Mode = GPIO_MODE_INPUT;
  GPIO_InitStruct.Pull = GPIO_PULLDOWN;  // pull-down
  HAL_GPIO_Init(GPIOA, &GPIO_InitStruct);

  /* Disable wakeup pin initially (used for standby mode) */
  HAL_PWR_DisableWakeUpPin(PWR_WAKEUP_PIN1);

  /* Check if the microcontroller is waking up from STANDBY mode */
  if (__HAL_PWR_GET_FLAG(PWR_FLAG_SB) != RESET) {
      /*
       * STANDBY mode is the deepest sleep mode. When the MCU wakes up,
       * it performs a power-on reset and restarts execution from main().
       * The PWR_FLAG_SB flag indicates that the reset was caused by
       * waking from STANDBY rather than a normal power-up or hardware reset.
       */

      /* Clear the STANDBY flag to avoid re‑detection on next reset */
      __HAL_PWR_CLEAR_FLAG(PWR_FLAG_SB);

      /* Also clear the wake‑up flag (set when a wake‑up event occurred) */
      __HAL_PWR_CLEAR_FLAG(PWR_FLAG_WU);

      /*
       * Disable the wake‑up pin (PA0) to prevent immediate re‑entry into
       * standby after we exit this boot sequence. The pin will be re‑enabled
       * later when the idle timeout triggers standby again.
       */
      HAL_PWR_DisableWakeUpPin(PWR_WAKEUP_PIN1);

      /* Optional debug message to confirm wake‑up source */
      printf("Woke up from STANDBY. Restarting init.\r\n");
  }
	/* Reset idle counter */
    lastActivityTime = HAL_GetTick();

    /* Enable DWT cycle counter for microsecond delays */
	CoreDebug->DEMCR |= CoreDebug_DEMCR_TRCENA_Msk;
	DWT->CYCCNT = 0;
	DWT->CTRL |= DWT_CTRL_CYCCNTENA_Msk;

	LoadOccupiedFromFlash();
	printf("Occupied map: ");
	for (int i=0;i<MAX_CHANNELS;i++){
		printf("%d", channelOccupied[i] ? 1 : 0);
		if (i < MAX_CHANNELS-1) printf(",");
	}
	printf("\r\n");
	DumpOccupiedFlashRaw();

	printf("IR Raw Receiver Started... Flash base: 0x%08lX (%d channels, %d pages each)\r\n",
		   (unsigned long)FLASH_CHANNELS_START, MAX_CHANNELS, PAGES_PER_CHANNEL);
	LED_Pattern(1);   /* Test LED */
	//  printf("IR Raw Receiver Started...\r\n");
	//  BlinkPattern_OK();
	IR_CaptureStart();

	 /* Set PA5 low (active state) – used as a wake-up indicator */
	HAL_GPIO_WritePin(GPIOA, GPIO_PIN_5, GPIO_PIN_RESET);

  /* USER CODE END 2 */

  /* Infinite loop */
  /* USER CODE BEGIN WHILE */
  while (1)
    {
	  // UPDATED: اسکن کیبورد (در هر state)
//		uint8_t key = ScanKeyboard();
//		if (key) {
//			ProcessKeyboardInput(key);
//		}
	  /* Check idle timeout – enter STANDBY after 30 seconds of inactivity */
	  if (currentState == IR_IDLE && (HAL_GetTick() - lastActivityTime >= IDLE_TIMEOUT_MS)) {
		  printf("30s idle timeout. Entering Standby mode...\r\n");

		  /* Set PA5 high to indicate standby state (active low before) */
		  HAL_GPIO_WritePin(GPIOA, GPIO_PIN_5, GPIO_PIN_SET);

		  /* Stop all peripherals to save power */
		  HAL_TIM_Base_Stop_IT(&htim1);
		  HAL_TIM_IC_Stop_IT(&htim2, TIM_CHANNEL_1);
		  HAL_TIM_PWM_Stop(&htim3, TIM_CHANNEL_1);
		  HAL_TIM_Base_Stop_IT(&htim4);

		  /* Enable wake‑up pin and enter STANDBY mode */
		  HAL_PWR_EnableWakeUpPin(PWR_WAKEUP_PIN1);
		  HAL_PWR_EnterSTANDBYMode();
		  /* The MCU resets after waking from STANDBY */
	  }
	  /* Process EXTI flag (keypad interrupt) – consume and optionally debug */
	  if (exti_flag) {
		  exti_flag = 0;                     // consume the flag (one-shot)
		  printf("EXTI event detected! (flag processed)\r\n");
		  /* Additional processing can be added here if needed */
	  }
	  /* Scan keypad and handle user input */
	  uint8_t key = ScanKeyboard();
		if (key) {
			lastActivityTime = HAL_GetTick();  /* Reset idle timer on any key press */
			ProcessKeyboardInput(key);
		}

		/* If a signal capture is complete, process it */
		if (signalReady) {
			/* Valid signal – enter READY state and turn LED on solid */
			signalReady = 0;
			uint8_t result = ProcessDiffBuffer();
			lastActivityTime = HAL_GetTick();  /* User interaction resets idle timer */

			if (result) {
				currentState = IR_READY;
				HAL_GPIO_WritePin(GPIOC, GPIO_PIN_13, GPIO_PIN_RESET);

				/* Print captured signal details for debugging */
				printf("\r\n--- New Valid Signal Captured ---\r\n");
				printf("Carrier Frequency: %lu Hz\r\n", irData.carrierFreq);
				printf("Segment Count: %d\r\n", irData.segmentCount);
				for (int i = 0; i < irData.segmentCount; i++) {
					const char* typeStr = (irData.type[i] == 1) ? "Burst" : "Idle ";
					printf("Segment %02d: [%s] -> %lu us\r\n", i, typeStr, irData.duration[i]);
				}
				printf("--- End of Signal ---\r\n\r\n");

				/* Suggest next free channel or overwrite option */
				uint8_t nextCh = FindNextFreeChannel();
				if (nextCh == 0) {
					printf("All channels full. Enter number then A to overwrite, or B (Cancel).\r\n");
					nextCh = 1;  /* Default to overwrite channel 1 */
				} else {
					printf("Save to channel %d? Press A (Save), or enter number then A, or B (Cancel).\r\n", nextCh);
				}
				/* Start 5-second timeout for user decision */
				StartUserTimeout();
			} else {
				/* Invalid signal – discard and restart capture */
				if (diffIndex >= MIN_DIFFS_FOR_PROCESS) {
					LED_Pattern(2);  // Cancel pattern
					printf("\r\n--- Invalid Signal Discarded. Resetting... ---\r\n");
				}
				IR_CaptureStart();
			}
		}

		/* Small delay to prevent excessive CPU usage while polling */
		HAL_Delay(100);

    /* USER CODE END WHILE */

    }
}

void SystemClock_Config(void)
{
  RCC_OscInitTypeDef RCC_OscInitStruct = {0};
  RCC_ClkInitTypeDef RCC_ClkInitStruct = {0};

  /** Initializes the RCC Oscillators according to the specified parameters
  * in the RCC_OscInitTypeDef structure.
  */
  RCC_OscInitStruct.OscillatorType = RCC_OSCILLATORTYPE_HSE;
  RCC_OscInitStruct.HSEState = RCC_HSE_ON;
  RCC_OscInitStruct.HSEPredivValue = RCC_HSE_PREDIV_DIV1;
  RCC_OscInitStruct.HSIState = RCC_HSI_ON;
  RCC_OscInitStruct.PLL.PLLState = RCC_PLL_ON;
  RCC_OscInitStruct.PLL.PLLSource = RCC_PLLSOURCE_HSE;
  RCC_OscInitStruct.PLL.PLLMUL = RCC_PLL_MUL9;
  if (HAL_RCC_OscConfig(&RCC_OscInitStruct) != HAL_OK)
  {
    Error_Handler();
  }

  /** Initializes the CPU, AHB and APB buses clocks
  */
  RCC_ClkInitStruct.ClockType = RCC_CLOCKTYPE_HCLK|RCC_CLOCKTYPE_SYSCLK
                              |RCC_CLOCKTYPE_PCLK1|RCC_CLOCKTYPE_PCLK2;
  RCC_ClkInitStruct.SYSCLKSource = RCC_SYSCLKSOURCE_PLLCLK;
  RCC_ClkInitStruct.AHBCLKDivider = RCC_SYSCLK_DIV1;
  RCC_ClkInitStruct.APB1CLKDivider = RCC_HCLK_DIV2;
  RCC_ClkInitStruct.APB2CLKDivider = RCC_HCLK_DIV1;

  if (HAL_RCC_ClockConfig(&RCC_ClkInitStruct, FLASH_LATENCY_2) != HAL_OK)
  {
    Error_Handler();
  }

  /** Enables the Clock Security System
  */
  HAL_RCC_EnableCSS();
}

static void MX_TIM1_Init(void)
{

  TIM_ClockConfigTypeDef sClockSourceConfig = {0};
  TIM_MasterConfigTypeDef sMasterConfig = {0};

  htim1.Instance = TIM1;
  htim1.Init.Prescaler = 7199;
  htim1.Init.CounterMode = TIM_COUNTERMODE_UP;
  htim1.Init.Period = 49999;
  htim1.Init.ClockDivision = TIM_CLOCKDIVISION_DIV1;
  htim1.Init.RepetitionCounter = 0;
  htim1.Init.AutoReloadPreload = TIM_AUTORELOAD_PRELOAD_ENABLE;
  if (HAL_TIM_Base_Init(&htim1) != HAL_OK)
  {
    Error_Handler();
  }
  sClockSourceConfig.ClockSource = TIM_CLOCKSOURCE_INTERNAL;
  if (HAL_TIM_ConfigClockSource(&htim1, &sClockSourceConfig) != HAL_OK)
  {
    Error_Handler();
  }
  sMasterConfig.MasterOutputTrigger = TIM_TRGO_RESET;
  sMasterConfig.MasterSlaveMode = TIM_MASTERSLAVEMODE_DISABLE;
  if (HAL_TIMEx_MasterConfigSynchronization(&htim1, &sMasterConfig) != HAL_OK)
  {
    Error_Handler();
  }
  /* USER CODE BEGIN TIM1_Init 2 */
  __HAL_TIM_CLEAR_FLAG(&htim1, TIM_FLAG_UPDATE);
  __HAL_TIM_CLEAR_IT(&htim1, TIM_IT_UPDATE);
  HAL_NVIC_ClearPendingIRQ(TIM1_UP_IRQn);

  HAL_NVIC_SetPriority(TIM1_UP_IRQn, 2, 0);
  HAL_NVIC_EnableIRQ(TIM1_UP_IRQn);

  /* USER CODE END TIM1_Init 2 */

}

static void MX_TIM2_Init(void)
{

  TIM_ClockConfigTypeDef sClockSourceConfig = {0};
  TIM_MasterConfigTypeDef sMasterConfig = {0};
  TIM_IC_InitTypeDef sConfigIC = {0};

  htim2.Instance = TIM2;
  htim2.Init.Prescaler = 71;
  htim2.Init.CounterMode = TIM_COUNTERMODE_UP;
  htim2.Init.Period = 65535;
  htim2.Init.ClockDivision = TIM_CLOCKDIVISION_DIV1;
  htim2.Init.AutoReloadPreload = TIM_AUTORELOAD_PRELOAD_DISABLE;
  if (HAL_TIM_Base_Init(&htim2) != HAL_OK)
  {
    Error_Handler();
  }
  sClockSourceConfig.ClockSource = TIM_CLOCKSOURCE_INTERNAL;
  if (HAL_TIM_ConfigClockSource(&htim2, &sClockSourceConfig) != HAL_OK)
  {
    Error_Handler();
  }
  if (HAL_TIM_IC_Init(&htim2) != HAL_OK)
  {
    Error_Handler();
  }
  sMasterConfig.MasterOutputTrigger = TIM_TRGO_RESET;
  sMasterConfig.MasterSlaveMode = TIM_MASTERSLAVEMODE_DISABLE;
  if (HAL_TIMEx_MasterConfigSynchronization(&htim2, &sMasterConfig) != HAL_OK)
  {
    Error_Handler();
  }
  sConfigIC.ICPolarity = TIM_INPUTCHANNELPOLARITY_FALLING;
  sConfigIC.ICSelection = TIM_ICSELECTION_DIRECTTI;
  sConfigIC.ICPrescaler = TIM_ICPSC_DIV1;
  sConfigIC.ICFilter = 4;
  if (HAL_TIM_IC_ConfigChannel(&htim2, &sConfigIC, TIM_CHANNEL_1) != HAL_OK)
  {
    Error_Handler();
  }

}

static void MX_TIM3_Init(void)
{

  TIM_MasterConfigTypeDef sMasterConfig = {0};
  TIM_OC_InitTypeDef sConfigOC = {0};

  htim3.Instance = TIM3;
  htim3.Init.Prescaler = 0;
  htim3.Init.CounterMode = TIM_COUNTERMODE_UP;
  htim3.Init.Period = 1894;
  htim3.Init.ClockDivision = TIM_CLOCKDIVISION_DIV1;
  htim3.Init.AutoReloadPreload = TIM_AUTORELOAD_PRELOAD_ENABLE;
  if (HAL_TIM_PWM_Init(&htim3) != HAL_OK)
  {
    Error_Handler();
  }
  sMasterConfig.MasterOutputTrigger = TIM_TRGO_RESET;
  sMasterConfig.MasterSlaveMode = TIM_MASTERSLAVEMODE_DISABLE;
  if (HAL_TIMEx_MasterConfigSynchronization(&htim3, &sMasterConfig) != HAL_OK)
  {
    Error_Handler();
  }
  sConfigOC.OCMode = TIM_OCMODE_PWM1;
  sConfigOC.Pulse = 631;
  sConfigOC.OCPolarity = TIM_OCPOLARITY_HIGH;
  sConfigOC.OCFastMode = TIM_OCFAST_DISABLE;
  if (HAL_TIM_PWM_ConfigChannel(&htim3, &sConfigOC, TIM_CHANNEL_1) != HAL_OK)
  {
    Error_Handler();
  }
  HAL_TIM_MspPostInit(&htim3);

}

static void MX_TIM4_Init(void)
{

  TIM_ClockConfigTypeDef sClockSourceConfig = {0};
  TIM_MasterConfigTypeDef sMasterConfig = {0};

  htim4.Instance = TIM4;
  htim4.Init.Prescaler = 7199;
  htim4.Init.CounterMode = TIM_COUNTERMODE_UP;
  htim4.Init.Period = 2499;
  htim4.Init.ClockDivision = TIM_CLOCKDIVISION_DIV1;
  htim4.Init.AutoReloadPreload = TIM_AUTORELOAD_PRELOAD_ENABLE;
  if (HAL_TIM_Base_Init(&htim4) != HAL_OK)
  {
    Error_Handler();
  }
  sClockSourceConfig.ClockSource = TIM_CLOCKSOURCE_INTERNAL;
  if (HAL_TIM_ConfigClockSource(&htim4, &sClockSourceConfig) != HAL_OK)
  {
    Error_Handler();
  }
  sMasterConfig.MasterOutputTrigger = TIM_TRGO_RESET;
  sMasterConfig.MasterSlaveMode = TIM_MASTERSLAVEMODE_DISABLE;
  if (HAL_TIMEx_MasterConfigSynchronization(&htim4, &sMasterConfig) != HAL_OK)
  {
    Error_Handler();
  }

}

static void MX_USART1_UART_Init(void)
{

  huart1.Instance = USART1;
  huart1.Init.BaudRate = 115200;
  huart1.Init.WordLength = UART_WORDLENGTH_8B;
  huart1.Init.StopBits = UART_STOPBITS_1;
  huart1.Init.Parity = UART_PARITY_NONE;
  huart1.Init.Mode = UART_MODE_TX_RX;
  huart1.Init.HwFlowCtl = UART_HWCONTROL_NONE;
  huart1.Init.OverSampling = UART_OVERSAMPLING_16;
  if (HAL_UART_Init(&huart1) != HAL_OK)
  {
    Error_Handler();
  }

}

static void MX_GPIO_Init(void)
{
  GPIO_InitTypeDef GPIO_InitStruct = {0};

  /* GPIO Ports Clock Enable */
  __HAL_RCC_GPIOC_CLK_ENABLE();
  __HAL_RCC_GPIOD_CLK_ENABLE();
  __HAL_RCC_GPIOA_CLK_ENABLE();
  __HAL_RCC_GPIOB_CLK_ENABLE();

  /*Configure GPIO pin Output Level */
  HAL_GPIO_WritePin(GPIOC, GPIO_PIN_13, GPIO_PIN_RESET);

  /*Configure GPIO pin Output Level */
  HAL_GPIO_WritePin(GPIOA, GPIO_PIN_5, GPIO_PIN_RESET);

  /*Configure GPIO pin Output Level */
  HAL_GPIO_WritePin(GPIOB, GPIO_PIN_6|GPIO_PIN_7|GPIO_PIN_8|GPIO_PIN_9, GPIO_PIN_RESET);

  /*Configure GPIO pin : PC13 */
  GPIO_InitStruct.Pin = GPIO_PIN_13;
  GPIO_InitStruct.Mode = GPIO_MODE_OUTPUT_PP;
  GPIO_InitStruct.Pull = GPIO_NOPULL;
  GPIO_InitStruct.Speed = GPIO_SPEED_FREQ_LOW;
  HAL_GPIO_Init(GPIOC, &GPIO_InitStruct);

  /*Configure GPIO pins : PC14 PC15 */
  GPIO_InitStruct.Pin = GPIO_PIN_14|GPIO_PIN_15;
  GPIO_InitStruct.Mode = GPIO_MODE_ANALOG;
  HAL_GPIO_Init(GPIOC, &GPIO_InitStruct);

  /*Configure GPIO pins : PA1 PA2 PA3 PA4
                           PA7 PA8 PA11 PA12 */
  GPIO_InitStruct.Pin = GPIO_PIN_1|GPIO_PIN_2|GPIO_PIN_3|GPIO_PIN_4
                          |GPIO_PIN_7|GPIO_PIN_8|GPIO_PIN_11|GPIO_PIN_12;
  GPIO_InitStruct.Mode = GPIO_MODE_ANALOG;
  HAL_GPIO_Init(GPIOA, &GPIO_InitStruct);

  /*Configure GPIO pin : PA5 */
  GPIO_InitStruct.Pin = GPIO_PIN_5;
  GPIO_InitStruct.Mode = GPIO_MODE_OUTPUT_PP;
  GPIO_InitStruct.Pull = GPIO_NOPULL;
  GPIO_InitStruct.Speed = GPIO_SPEED_FREQ_LOW;
  HAL_GPIO_Init(GPIOA, &GPIO_InitStruct);

  /*Configure GPIO pins : PB0 PB1 PB2 PB10
                           PB11 PB12 PB13 PB14 */
  GPIO_InitStruct.Pin = GPIO_PIN_0|GPIO_PIN_1|GPIO_PIN_2|GPIO_PIN_10
                          |GPIO_PIN_11|GPIO_PIN_12|GPIO_PIN_13|GPIO_PIN_14;
  GPIO_InitStruct.Mode = GPIO_MODE_ANALOG;
  HAL_GPIO_Init(GPIOB, &GPIO_InitStruct);

  /*Configure GPIO pins : PB15 PB3 PB4 PB5 */
  GPIO_InitStruct.Pin = GPIO_PIN_15|GPIO_PIN_3|GPIO_PIN_4|GPIO_PIN_5;
  GPIO_InitStruct.Mode = GPIO_MODE_IT_FALLING;
  GPIO_InitStruct.Pull = GPIO_PULLUP;
  HAL_GPIO_Init(GPIOB, &GPIO_InitStruct);

  /*Configure GPIO pins : PB6 PB7 PB8 PB9 */
  GPIO_InitStruct.Pin = GPIO_PIN_6|GPIO_PIN_7|GPIO_PIN_8|GPIO_PIN_9;
  GPIO_InitStruct.Mode = GPIO_MODE_OUTPUT_PP;
  GPIO_InitStruct.Pull = GPIO_NOPULL;
  GPIO_InitStruct.Speed = GPIO_SPEED_FREQ_LOW;
  HAL_GPIO_Init(GPIOB, &GPIO_InitStruct);

  /* EXTI interrupt init*/
  HAL_NVIC_SetPriority(EXTI3_IRQn, 2, 0);
  HAL_NVIC_EnableIRQ(EXTI3_IRQn);

  HAL_NVIC_SetPriority(EXTI4_IRQn, 2, 0);
  HAL_NVIC_EnableIRQ(EXTI4_IRQn);

  HAL_NVIC_SetPriority(EXTI9_5_IRQn, 2, 0);
  HAL_NVIC_EnableIRQ(EXTI9_5_IRQn);

  HAL_NVIC_SetPriority(EXTI15_10_IRQn, 2, 0);
  HAL_NVIC_EnableIRQ(EXTI15_10_IRQn);

/* USER CODE BEGIN MX_GPIO_Init_2 */
  HAL_GPIO_WritePin(GPIOB, GPIO_PIN_6 | GPIO_PIN_7 | GPIO_PIN_8 | GPIO_PIN_9, GPIO_PIN_SET);

/* USER CODE END MX_GPIO_Init_2 */
}

void Error_Handler(void)
{
}
